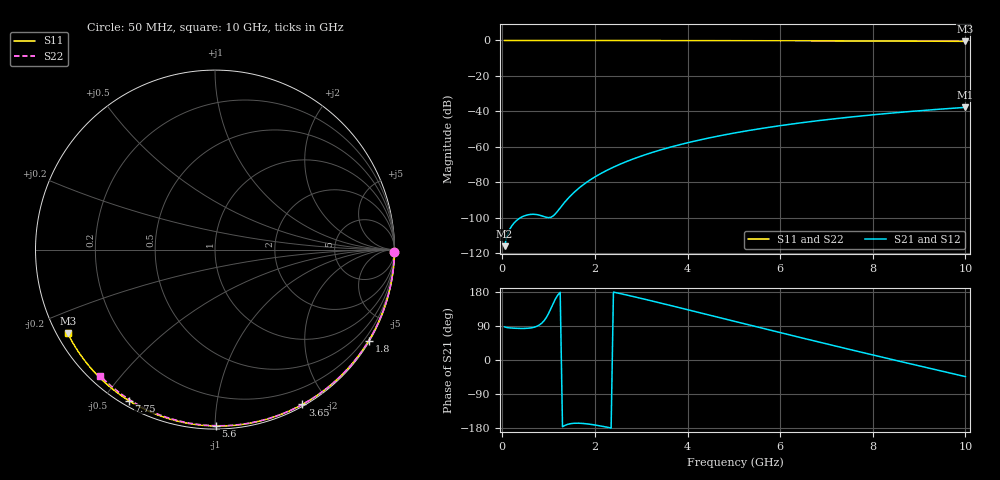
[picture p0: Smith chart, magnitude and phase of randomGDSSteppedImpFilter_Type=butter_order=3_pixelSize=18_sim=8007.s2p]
! freq	dB(S11)	phase(S11)	dB(S12)	phase(S12)
!  dB(S21)	phase(S21)	dB(S22)	phase(S22)
!S-par simulation data
#  GHz  S  DB  R 50
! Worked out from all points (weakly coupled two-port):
!   200 points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, 50 MHz to 10 GHz, reference 50 ohm
!   highest |S21| = -37.70 dB at 10 GHz (marker M1); lowest = -115.9 dB at 50 MHz (marker M2)
!   lowest |S11| = -0.5 dB at 10 GHz (marker M3), VSWR 34.51, Z = 1.55 - j13.2 ohm
!   |S11| at or under -10 dB: nowhere
!   |S22| runs from -0.4 to 0.0 dB; largest |S21 - S12| = 0
!   S11 on the Smith chart (normalised r, x): 50 MHz: open; 1.8 GHz: 0.03, -3.65; 3.65 GHz: 0.02, -1.71; 5.6 GHz: 0.02, -1.00; 7.75 GHz: 0.02, -0.58; 10 GHz: 0.03, -0.26
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0.05  -0.00 -0.9  -115.91 87.4  -115.91 87.4  -0.00 -0.8
0.45  -0.01 -7.8  -99.11 83.2  -99.11 83.2  -0.01 -6.9
0.9  -0.02 -15.5  -99.23 103.3  -99.23 103.3  -0.02 -13.7
1.75  -0.04 -29.8  -81.25 -167.5  -81.25 -167.5  -0.03 -26.4
1.8  -0.04 -30.6  -80.29 -168.1  -80.29 -168.1  -0.03 -27.2
1.85  -0.04 -31.5  -79.39 -168.8  -79.39 -168.8  -0.04 -27.9
2  -0.04 -34.0  -76.89 -171.5  -76.89 -171.5  -0.04 -30.1
2.15  -0.05 -36.4  -74.66 -174.7  -74.66 -174.7  -0.04 -32.3
2.5  -0.05 -42.2  -70.22 176.5  -70.22 176.5  -0.05 -37.4
2.9  -0.06 -48.7  -66.07 165.4  -66.07 165.4  -0.06 -43.2
3.4  -0.07 -56.6  -61.81 150.8  -61.81 150.8  -0.07 -50.3
3.65  -0.08 -60.5  -59.97 143.4  -59.97 143.4  -0.07 -53.8
4.3  -0.10 -70.6  -55.85 123.7  -55.85 123.7  -0.09 -62.7
5.05  -0.13 -81.8  -51.97 101.0  -51.97 101.0  -0.11 -72.7
5.6  -0.15 -89.8  -49.56 84.4  -49.56 84.4  -0.13 -79.9
6.15  -0.17 -97.7  -47.45 67.9  -47.45 67.9  -0.15 -86.9
6.7  -0.20 -105.4  -45.58 51.5  -45.58 51.5  -0.18 -93.7
7.2  -0.24 -112.3  -44.05 36.7  -44.05 36.7  -0.21 -99.8
7.75  -0.28 -119.8  -42.54 20.6  -42.54 20.6  -0.24 -106.4
8.35  -0.33 -127.9  -41.05 3.2  -41.05 3.2  -0.29 -113.5
9.2  -0.41 -139.4  -39.20 -21.1  -39.20 -21.1  -0.36 -123.3
10  -0.50 -150.3  -37.70 -43.8  -37.70 -43.8  -0.45 -132.4
